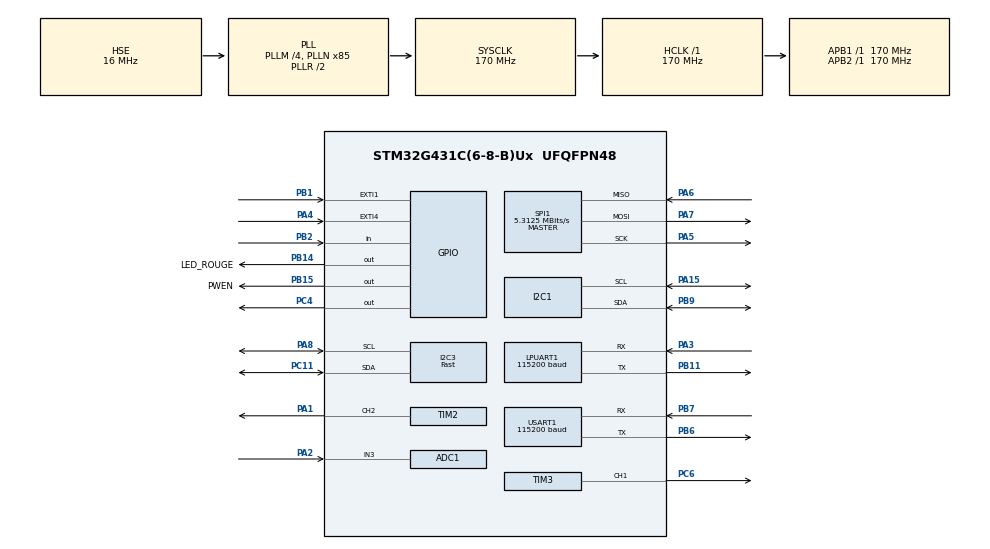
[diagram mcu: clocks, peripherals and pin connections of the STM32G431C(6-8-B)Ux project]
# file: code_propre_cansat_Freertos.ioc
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ADC1.Channel-0\#ChannelRegularConversion=ADC_CHANNEL_VREFINT
ADC1.Channel-1\#ChannelRegularConversion=ADC_CHANNEL_TEMPSENSOR_ADC1
ADC1.Channel-2\#ChannelRegularConversion=ADC_CHANNEL_3
ADC1.ContinuousConvMode=ENABLE
ADC1.EOCSelection=ADC_EOC_SEQ_CONV
ADC1.NbrOfConversion=3
ADC1.NbrOfConversionFlag=1
ADC1.OffsetNumber-0\#ChannelRegularConversion=ADC_OFFSET_NONE
ADC1.OffsetNumber-1\#ChannelRegularConversion=ADC_OFFSET_NONE
ADC1.OffsetNumber-2\#ChannelRegularConversion=ADC_OFFSET_NONE
ADC1.Rank-0\#ChannelRegularConversion=1
ADC1.Rank-1\#ChannelRegularConversion=2
ADC1.Rank-2\#ChannelRegularConversion=3
ADC1.SamplingTime-0\#ChannelRegularConversion=ADC_SAMPLETIME_640CYCLES_5
ADC1.SamplingTime-1\#ChannelRegularConversion=ADC_SAMPLETIME_640CYCLES_5
ADC1.SamplingTime-2\#ChannelRegularConversion=ADC_SAMPLETIME_640CYCLES_5
ADC1.master=1
Dma.ADC1.0.Direction=DMA_PERIPH_TO_MEMORY
Dma.ADC1.0.EventEnable=DISABLE
Dma.ADC1.0.Instance=DMA1_Channel2
Dma.ADC1.0.MemDataAlignment=DMA_MDATAALIGN_HALFWORD
Dma.ADC1.0.MemInc=DMA_MINC_ENABLE
Dma.ADC1.0.Mode=DMA_CIRCULAR
Dma.ADC1.0.PeriphDataAlignment=DMA_PDATAALIGN_HALFWORD
Dma.ADC1.0.PeriphInc=DMA_PINC_DISABLE
Dma.ADC1.0.Polarity=HAL_DMAMUX_REQ_GEN_RISING
Dma.ADC1.0.Priority=DMA_PRIORITY_LOW
Dma.ADC1.0.RequestNumber=1
Dma.ADC1.0.SignalID=NONE
Dma.ADC1.0.SyncEnable=DISABLE
Dma.ADC1.0.SyncPolarity=HAL_DMAMUX_SYNC_NO_EVENT
Dma.ADC1.0.SyncRequestNumber=1
Dma.ADC1.0.SyncSignalID=NONE
Dma.LPUART1_RX.1.Direction=DMA_PERIPH_TO_MEMORY
Dma.LPUART1_RX.1.EventEnable=DISABLE
Dma.LPUART1_RX.1.Instance=DMA1_Channel3
Dma.LPUART1_RX.1.MemDataAlignment=DMA_MDATAALIGN_BYTE
Dma.LPUART1_RX.1.MemInc=DMA_MINC_ENABLE
Dma.LPUART1_RX.1.Mode=DMA_CIRCULAR
Dma.LPUART1_RX.1.PeriphDataAlignment=DMA_PDATAALIGN_BYTE
Dma.LPUART1_RX.1.PeriphInc=DMA_PINC_DISABLE
Dma.LPUART1_RX.1.Polarity=HAL_DMAMUX_REQ_GEN_RISING
Dma.LPUART1_RX.1.Priority=DMA_PRIORITY_LOW
Dma.LPUART1_RX.1.RequestNumber=1
Dma.LPUART1_RX.1.SignalID=NONE
Dma.LPUART1_RX.1.SyncEnable=DISABLE
Dma.LPUART1_RX.1.SyncPolarity=HAL_DMAMUX_SYNC_NO_EVENT
Dma.LPUART1_RX.1.SyncRequestNumber=1
Dma.LPUART1_RX.1.SyncSignalID=NONE
Dma.Request0=ADC1
Dma.Request1=LPUART1_RX
Dma.Request2=USART1_RX
Dma.Request3=TIM2_CH2
Dma.TIM2_CH2.3.Direction=DMA_MEMORY_TO_PERIPH
Dma.TIM2_CH2.3.EventEnable=DISABLE
Dma.TIM2_CH2.3.Instance=DMA1_Channel1
Dma.TIM2_CH2.3.MemDataAlignment=DMA_MDATAALIGN_BYTE
Dma.TIM2_CH2.3.MemInc=DMA_MINC_ENABLE
Dma.TIM2_CH2.3.Mode=DMA_NORMAL
Dma.TIM2_CH2.3.PeriphDataAlignment=DMA_PDATAALIGN_WORD
Dma.TIM2_CH2.3.PeriphInc=DMA_PINC_DISABLE
Dma.TIM2_CH2.3.Polarity=HAL_DMAMUX_REQ_GEN_RISING
Dma.TIM2_CH2.3.Priority=DMA_PRIORITY_LOW
Dma.TIM2_CH2.3.RequestNumber=1
Dma.TIM2_CH2.3.SignalID=NONE
Dma.TIM2_CH2.3.SyncEnable=DISABLE
Dma.TIM2_CH2.3.SyncPolarity=HAL_DMAMUX_SYNC_NO_EVENT
Dma.TIM2_CH2.3.SyncRequestNumber=1
Dma.TIM2_CH2.3.SyncSignalID=NONE
Dma.USART1_RX.2.Direction=DMA_PERIPH_TO_MEMORY
Dma.USART1_RX.2.EventEnable=DISABLE
Dma.USART1_RX.2.Instance=DMA1_Channel5
Dma.USART1_RX.2.MemDataAlignment=DMA_MDATAALIGN_BYTE
Dma.USART1_RX.2.MemInc=DMA_MINC_ENABLE
Dma.USART1_RX.2.Mode=DMA_CIRCULAR
Dma.USART1_RX.2.PeriphDataAlignment=DMA_PDATAALIGN_BYTE
Dma.USART1_RX.2.PeriphInc=DMA_PINC_DISABLE
Dma.USART1_RX.2.Polarity=HAL_DMAMUX_REQ_GEN_RISING
Dma.USART1_RX.2.Priority=DMA_PRIORITY_LOW
Dma.USART1_RX.2.RequestNumber=1
Dma.USART1_RX.2.SignalID=NONE
Dma.USART1_RX.2.SyncEnable=DISABLE
Dma.USART1_RX.2.SyncPolarity=HAL_DMAMUX_SYNC_NO_EVENT
Dma.USART1_RX.2.SyncRequestNumber=1
Dma.USART1_RX.2.SyncSignalID=NONE
FATFS._MAX_SS=512
FATFS._USE_LFN=0
FREERTOS.INCLUDE_vTaskDelayUntil=1
FREERTOS.Mutexes01=SDCard_mutexe,Dynamic,NULL,Depleted;I2Cmutex,Dynamic,NULL,Depleted;uartmutex,Dynamic,NULL,Available
FREERTOS.Tasks01=statemachine,1,300,Startstatemachine,Default,NULL,Dynamic,NULL,NULL;GNSSParse,0,256,StartGNSSParse,Default,NULL,Dynamic,NULL,NULL;Sdcardwrite,0,512,StartSdcard,Default,NULL,Dynamic,NULL,NULL;servo,1,256,Startservo,Default,NULL,Dynamic,NULL,NULL;distancecalc,-1,256,Startdistancecalc,Default,NULL,Dynamic,NULL,NULL;tarvosDecode,3,256,startTarvosDecode,Default,NULL,Dynamic,NULL,NULL
FREERTOS.configENABLE_FPU=1
FREERTOS.configTOTAL_HEAP_SIZE=12000
FREERTOS.configUSE_NEWLIB_REENTRANT=1
I2C1.Timing=0x40B285C2
I2C3.I2C_Speed_Mode=I2C_Fast
I2C3.Timing=0x40621236
LPUART1.BaudRate=115200
Mcu.Family=STM32G4
Mcu.Name=STM32G431C(6-8-B)Ux
Mcu.Package=UFQFPN48
NVIC.ADC1_2_IRQn=true\:5\:0\:false\:false\:true\:true\:true\:true\:true
NVIC.DMA1_Channel1_IRQn=true\:5\:0\:false\:false\:true\:true\:false\:true\:true
NVIC.DMA1_Channel2_IRQn=true\:5\:0\:false\:false\:true\:true\:false\:true\:true
NVIC.DMA1_Channel3_IRQn=true\:5\:0\:false\:false\:true\:true\:false\:true\:true
NVIC.DMA1_Channel5_IRQn=true\:5\:0\:false\:false\:true\:true\:false\:true\:true
NVIC.EXTI1_IRQn=true\:5\:0\:false\:false\:true\:true\:true\:true\:true
NVIC.EXTI4_IRQn=true\:5\:0\:false\:false\:true\:true\:true\:true\:true
NVIC.LPUART1_IRQn=true\:5\:0\:false\:false\:true\:true\:true\:true\:true
NVIC.PriorityGroup=NVIC_PRIORITYGROUP_4
NVIC.TIM1_UP_TIM16_IRQn=true\:15\:0\:false\:false\:true\:false\:false\:true\:true
NVIC.TIM2_IRQn=true\:5\:0\:false\:false\:true\:true\:true\:true\:true
NVIC.TIM4_IRQn=true\:6\:0\:true\:false\:true\:true\:true\:true\:true
NVIC.TimeBase=TIM1_UP_TIM16_IRQn
NVIC.TimeBaseIP=TIM1
NVIC.USART1_IRQn=true\:5\:0\:false\:false\:true\:true\:true\:true\:true
PA1.GPIO_Speed=GPIO_SPEED_FREQ_MEDIUM
PA1.Signal=S_TIM2_CH2
PA13.Mode=Trace_Asynchronous_SW
PA13.Signal=SYS_JTMS-SWDIO
PA14.Mode=Trace_Asynchronous_SW
PA14.Signal=SYS_JTCK-SWCLK
PA15.Mode=I2C
PA15.Signal=I2C1_SCL
PA2.Mode=IN3-Single-Ended
PA2.Signal=ADC1_IN3
PA3.Mode=Asynchronous
PA3.Signal=LPUART1_RX
PA4.GPIO_ModeDefaultEXTI=GPIO_MODE_IT_RISING_FALLING
PA4.Signal=GPXTI4
PA5.GPIO_PuPd=GPIO_NOPULL
PA5.Mode=Full_Duplex_Master
PA5.Signal=SPI1_SCK
PA6.GPIO_PuPd=GPIO_NOPULL
PA6.Mode=Full_Duplex_Master
PA6.Signal=SPI1_MISO
PA7.GPIO_PuPd=GPIO_NOPULL
PA7.Mode=Full_Duplex_Master
PA7.Signal=SPI1_MOSI
PA8.Mode=I2C
PA8.Signal=I2C3_SCL
PB1.GPIO_ModeDefaultEXTI=GPIO_MODE_IT_RISING_FALLING
PB1.GPIO_PuPd=GPIO_NOPULL
PB1.Signal=GPXTI1
PB11.Mode=Asynchronous
PB11.Signal=LPUART1_TX
PB14.GPIO_Label=LED_ROUGE
PB14.Signal=GPIO_Output
PB15.GPIO_Label=PWEN
PB15.Signal=GPIO_Output
PB2.Signal=GPIO_Input
PB3.Mode=Trace_Asynchronous_SW
PB3.Signal=SYS_JTDO-SWO
PB6.Mode=Asynchronous
PB6.Signal=USART1_TX
PB7.Mode=Asynchronous
PB7.Signal=USART1_RX
PB9.Mode=I2C
PB9.Signal=I2C1_SDA
PC11.Mode=I2C
PC11.Signal=I2C3_SDA
PC4.Signal=GPIO_Output
PC6.Signal=S_TIM3_CH1
PF0-OSC_IN.Mode=HSE-External-Oscillator
PF0-OSC_IN.Signal=RCC_OSC_IN
PF1-OSC_OUT.Mode=HSE-External-Oscillator
PF1-OSC_OUT.Signal=RCC_OSC_OUT
ProjectManager.HeapSize=0x200
ProjectManager.StackSize=0x400
ProjectManager.TargetToolchain=STM32CubeIDE
RCC.ADC12Freq_Value=170000000
RCC.AHBFreq_Value=170000000
RCC.APB1Freq_Value=170000000
RCC.APB1TimFreq_Value=170000000
RCC.APB2Freq_Value=170000000
RCC.APB2TimFreq_Value=170000000
RCC.CortexFreq_Value=170000000
RCC.EXTERNAL_CLOCK_VALUE=12288000
RCC.HCLKFreq_Value=170000000
RCC.HSE_VALUE=16000000
RCC.HSI48_VALUE=48000000
RCC.HSI_VALUE=16000000
RCC.LSE_VALUE=32768
RCC.PLLM=RCC_PLLM_DIV4
RCC.PLLN=85
RCC.PLLSourceVirtual=RCC_PLLSOURCE_HSE
RCC.SYSCLKFreq_VALUE=170000000
RCC.SYSCLKSource=RCC_SYSCLKSOURCE_PLLCLK
RCC.USBFreq_Value=170000000
RCC.VCOOutputFreq_Value=340000000
SH.S_TIM2_CH2.0=TIM2_CH2,PWM Generation2 CH2
SH.S_TIM3_CH1.0=TIM3_CH1,PWM Generation1 CH1
SPI1.BaudRatePrescaler=SPI_BAUDRATEPRESCALER_32
SPI1.CalculateBaudRate=5.3125 MBits/s
SPI1.DataSize=SPI_DATASIZE_8BIT
SPI1.Direction=SPI_DIRECTION_2LINES
SPI1.Mode=SPI_MODE_MASTER
SPI1.VirtualType=VM_MASTER
TIM2.Channel-PWM\ Generation2\ CH2=TIM_CHANNEL_2
TIM2.OCFastMode_PWM-PWM\ Generation2\ CH2=TIM_OCFAST_ENABLE
TIM2.PeriodNoDither=204-1
TIM2.Prescaler=0
TIM3.AutoReloadPreload=TIM_AUTORELOAD_PRELOAD_ENABLE
TIM3.Channel-PWM\ Generation1\ CH1=TIM_CHANNEL_1
TIM3.PeriodNoDither=10000-1
TIM3.Prescaler=170-1
TIM4.PeriodNoDither=10000-1
TIM4.Prescaler=17000-1
USART1.BaudRate=115200
USART1.VirtualMode-Asynchronous=VM_ASYNC
VP_ADC1_TempSens_Input.Mode=IN-TempSens
VP_ADC1_Vref_Input.Mode=IN-Vrefint
VP_FATFS_VS_Generic.Mode=User_defined
VP_FREERTOS_VS_CMSIS_V1.Mode=CMSIS_V1
VP_SYS_VS_DBSignals.Mode=DisableDeadBatterySignals
VP_SYS_VS_tim1.Mode=TIM1
VP_TIM2_VS_ClockSourceINT.Mode=Internal
VP_TIM3_VS_ClockSourceINT.Mode=Internal
VP_TIM4_VS_ClockSourceINT.Mode=Internal
board=custom

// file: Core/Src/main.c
/* USER CODE BEGIN Header */
/**
  ******************************************************************************
  * @file           : main.c
  * @brief          : Main program body
  ******************************************************************************
  * @attention
  *
  * Copyright (c) 2025 STMicroelectronics.
  * All rights reserved.
  *
  * This software is licensed under terms that can be found in the LICENSE file
  * in the root directory of this software component.
  * If no LICENSE file comes with this software, it is provided AS-IS.
  *
  ******************************************************************************
  */
/* USER CODE END Header */
#include "main.h"
#include "cmsis_os.h"
#include "adc.h"
#include "dma.h"
#include "app_fatfs.h"
#include "i2c.h"
#include "usart.h"
#include "spi.h"
#include "tim.h"
#include "gpio.h"

/* USER CODE BEGIN Includes */
#include "bmp581.h"
#include "6axis.h"
#include "tarvos.h"
#include "led.h"
#include "statemachine.h"
#include "servo.h"
#include "ssd1306.h"
#include "math.h"
#include "GNSS.h"
/* USER CODE END Includes */

/* USER CODE BEGIN PV */

uint8_t tarvos_TX_Buffer[TarvosTxBufferSize];
uint8_t tarvos_DATA[64];
uint8_t tarvos_RX_Buffer[TarvosRxBufferSize];

uint8_t workingbuffer[110];
uint8_t sdcardbuffer[512];
AXIS6 myData6AXIS;
BMP_t myDatabmp581;

FATFS FatFs;   // FATFS handle
FRESULT fres;  // Common result code
FILINFO fno;	  // Structure holds information
FATFS *getFreeFs; 	  // Read information
FIL fil;
DIR dir;			  // Directory object structure
DWORD free_clusters;  // Free Clusters
DWORD free_sectors;	  // Free Sectors
DWORD total_sectors;

int tbtn1=0;
uint16_t rawADCdata[3];
float temp=0;
float vrefint=0;
float vbat=0;

#ifdef PARTIE_BAS
DecodedPayload TOPData;
#endif

extern uint8_t dma_rx_buffer[DMA_CHUNK_SIZE];               // Réception DMA par bloc de 5
extern uint8_t circular_buffer[CIRC_BUF_SIZE];              // Buffer circulaire
extern volatile uint16_t write_index;
extern volatile uint16_t read_index;

DecodedPayload OTHERData;

GNSS_StateHandle GNSSData;

uint8_t LEDDMABUF[DMABUFLEN];
uint8_t DMA_COMPLETE_FLAG=0;

int gros_btn_time=0;

STATE state=IDLE;

int flag_drop = 0;
int flag_separation = 0;
int flag_calib=0;
int flag_bouton_servo=0;
int flag_servo_started=0;

uint32_t cpt_tps_chute=0;

int flag_fin=0;

float hauteur_Initiale=0.0;

float hauteur_relative=0.0;

int pbmseeker=0;

int received_flag=0;

int trameready=0;

uint32_t timeindex=0;

/* USER CODE END PV */

void SystemClock_Config(void);
void MX_FREERTOS_Init(void);

/* USER CODE BEGIN 0 */
void HAL_GPIO_EXTI_Callback(uint16_t GPIO_Pin)//lors d'un appuie sur un bouton, le systeme s'interrompt afin d'arriver dans cette fonction redefinie avec en parametre d'entre , le bouton sur lequel l'on a appuiyé
{
	if(GPIO_Pin==GPIO_PIN_4){
		if(HAL_GPIO_ReadPin(GPIOA,GPIO_PIN_4)== GPIO_PIN_SET){

						gros_btn_time=0;
						tbtn1=HAL_GetTick();

					}
					else{

						gros_btn_time=(HAL_GetTick()-tbtn1);

		if(gros_btn_time<=380){
#ifdef PARTIE_HAUT
			flag_bouton_servo=0;
#endif

							}
					if(gros_btn_time>=400 && gros_btn_time<=1500){
#ifdef PARTIE_HAUT
						flag_bouton_servo=1;
#endif
					}
					if(gros_btn_time>=1500 && gros_btn_time<=3500){

						hauteur_Initiale=myDatabmp581.altitude;
						flag_calib=1;
#ifdef PARTIE_HAUT
						create_and_send_payload((uint8_t *) tarvos_TX_Buffer,CHANNEL,BOTTOM_ADDR,0x20,0.0,0.0,0.0,0.0,0.0,0.0,0.0,0.0,0.0,0.0,0.0,0);
#endif

										}
					if(gros_btn_time>=4000){
											HAL_GPIO_TogglePin(PWEN_GPIO_Port,PWEN_Pin);
											gros_btn_time=0;

															}

					gros_btn_time=0;
					}

	}

#ifdef PARTIE_HAUT
	if(GPIO_Pin==GPIO_PIN_1){

		if(HAL_GPIO_ReadPin(GPIOB,GPIO_PIN_1)== GPIO_PIN_SET){
			flag_drop=0;
		}
		else{
			flag_drop=1;
		}

		}
#endif

	}
void HAL_TIM_PWM_PulseFinishedCallback(TIM_HandleTypeDef *htim){

	LED_Callback();
}
/* USER CODE END 0 */

int main(void)
{

  /* MCU Configuration--------------------------------------------------------*/

  /* Reset of all peripherals, Initializes the Flash interface and the Systick. */
  HAL_Init();

  /* Configure the system clock */
  SystemClock_Config();

  /* Initialize all configured peripherals */
  MX_GPIO_Init();
  MX_DMA_Init();
  MX_ADC1_Init();
  MX_I2C1_Init();
  MX_I2C3_Init();
  MX_LPUART1_UART_Init();
  MX_USART1_UART_Init();
  MX_TIM3_Init();
  MX_TIM2_Init();
  MX_SPI1_Init();
  if (MX_FATFS_Init() != APP_OK) {
    Error_Handler();
  }
  MX_TIM4_Init();
  /* USER CODE BEGIN 2 */

  ssd1306_Init();
  ssd1306_Fill(Black);
  ssd1306_SetCursor(32, 40);
  ssd1306_WriteString("Init...", Font_7x10, White);
  ssd1306_UpdateScreen();

  HAL_GPIO_WritePin(PWEN_GPIO_Port,PWEN_Pin,GPIO_PIN_SET);
  HAL_GPIO_WritePin(LED_ROUGE_GPIO_Port,LED_ROUGE_Pin,GPIO_PIN_SET);

#ifdef PARTIE_HAUT
  if( release_mecanism()!=HAL_OK){
	  ssd1306_SetCursor(32, 40);
 	  ssd1306_Fill(Black);
 	  ssd1306_WriteString("servopbm", Font_7x10, White);
 	  ssd1306_UpdateScreen();
 	  HAL_Delay(500);
 	 pbmseeker=1;

   }
  flag_servo_started=1;

#endif

  if(HAL_ADC_Start_DMA(&hadc1,(uint16_t*)rawADCdata, 3)!=HAL_OK){
	  ssd1306_SetCursor(32, 40);
 	  ssd1306_Fill(Black);
 	  ssd1306_WriteString("adcpbm", Font_7x10, White);
 	  ssd1306_UpdateScreen();
 	  HAL_Delay(500);
 	 pbmseeker=1;

   }

   HAL_Delay(100);
   HAL_UART_Abort(&huart1);
   if( HAL_UART_Receive_DMA(&huart1, (uint8_t *)workingbuffer, 100)!=HAL_OK){
	   ssd1306_SetCursor(32, 40);
  	  ssd1306_Fill(Black);
  	  ssd1306_WriteString("gpspbm", Font_7x10, White);
  	  ssd1306_UpdateScreen();
  	  HAL_Delay(500);
  	pbmseeker=1;

    }

  if(  LED_Init()!=HAL_OK){
	  ssd1306_SetCursor(32, 40);
 	  ssd1306_Fill(Black);
 	  ssd1306_WriteString("ledpbm", Font_7x10, White);
 	  ssd1306_UpdateScreen();
 	  HAL_Delay(500);
 	 pbmseeker=1;

   }
  Init_HighPerf_Mode_6_axis();

  if(bmp581_init_precise_normal(&myDatabmp581)!=HAL_OK){
	  ssd1306_SetCursor(32, 40);
 	  ssd1306_Fill(Black);
 	  ssd1306_WriteString("bmp pbm", Font_7x10, White);
 	  ssd1306_UpdateScreen();
 	  HAL_Delay(500);
 	 pbmseeker=1;

   }

  //mon adresse est 1° et on envoit à 2°
#ifdef PARTIE_BAS
  if( INIT_PERM_TARVOS(BOTTOM_ADDR, GROUND_ADDR)!=HAL_OK){
	  ssd1306_SetCursor(32, 40);
 	  ssd1306_Fill(Black);
 	  ssd1306_WriteString("tvsaddrpbm", Font_7x10, White);
 	  ssd1306_UpdateScreen();
 	  HAL_Delay(500);
 	 pbmseeker=1;

   }
#endif

#ifdef PARTIE_HAUT
  if( INIT_PERM_TARVOS(TOP_ADDR, BOTTOM_ADDR)!=HAL_OK){
	  ssd1306_SetCursor(32, 40);
 	  ssd1306_Fill(Black);
 	  ssd1306_WriteString("tvsaddrpbm", Font_7x10, White);
 	  ssd1306_UpdateScreen();
 	  HAL_Delay(500);
 	 pbmseeker=1;

   }
#endif

  HAL_Delay(100);
  HAL_UART_Abort(&hlpuart1);
  if(HAL_UART_Receive_DMA(&hlpuart1, dma_rx_buffer, DMA_CHUNK_SIZE)!=HAL_OK){
	   ssd1306_SetCursor(32, 40);
 	  ssd1306_Fill(Black);
 	  ssd1306_WriteString("tvsrxpbm", Font_7x10, White);
 	  ssd1306_UpdateScreen();
 	  HAL_Delay(500);
 	pbmseeker=1;

   }
  HAL_TIM_Base_Start_IT(&htim4);
  HAL_Delay(10);

  fres = f_mount(&FatFs, "", 1);
  		  if (fres == FR_OK) {
  			  fres = f_mkdir("DEMO");
  			  fres = f_open(&fil, "/DEMO/write.txt",FA_WRITE | FA_OPEN_ALWAYS);
  			  if (fres == FR_OK) {
  				  //snprintf((char*) readBuf,30, "I hate Java!");
  				  UINT bytesWrote;
  				  fres = f_write(&fil,(uint8_t *)"test123test", 11, &bytesWrote);
  				  f_close(&fil);

  			  }
  			  f_mount(NULL, "", 0);
  		  }

  /* USER CODE END 2 */

  /* Call init function for freertos objects (in cmsis_os2.c) */
  MX_FREERTOS_Init();

  /* Start scheduler */
  osKernelStart();

  /* We should never get here as control is now taken by the scheduler */

  /* Infinite loop */
  while (1)
  {

  }
}

void SystemClock_Config(void)
{
  RCC_OscInitTypeDef RCC_OscInitStruct = {0};
  RCC_ClkInitTypeDef RCC_ClkInitStruct = {0};

  /** Configure the main internal regulator output voltage
  */
  HAL_PWREx_ControlVoltageScaling(PWR_REGULATOR_VOLTAGE_SCALE1_BOOST);

  /** Initializes the RCC Oscillators according to the specified parameters
  * in the RCC_OscInitTypeDef structure.
  */
  RCC_OscInitStruct.OscillatorType = RCC_OSCILLATORTYPE_HSE;
  RCC_OscInitStruct.HSEState = RCC_HSE_ON;
  RCC_OscInitStruct.PLL.PLLState = RCC_PLL_ON;
  RCC_OscInitStruct.PLL.PLLSource = RCC_PLLSOURCE_HSE;
  RCC_OscInitStruct.PLL.PLLM = RCC_PLLM_DIV4;
  RCC_OscInitStruct.PLL.PLLN = 85;
  RCC_OscInitStruct.PLL.PLLP = RCC_PLLP_DIV2;
  RCC_OscInitStruct.PLL.PLLQ = RCC_PLLQ_DIV2;
  RCC_OscInitStruct.PLL.PLLR = RCC_PLLR_DIV2;
  if (HAL_RCC_OscConfig(&RCC_OscInitStruct) != HAL_OK)
  {
    Error_Handler();
  }

  /** Initializes the CPU, AHB and APB buses clocks
  */
  RCC_ClkInitStruct.ClockType = RCC_CLOCKTYPE_HCLK|RCC_CLOCKTYPE_SYSCLK
                              |RCC_CLOCKTYPE_PCLK1|RCC_CLOCKTYPE_PCLK2;
  RCC_ClkInitStruct.SYSCLKSource = RCC_SYSCLKSOURCE_PLLCLK;
  RCC_ClkInitStruct.AHBCLKDivider = RCC_SYSCLK_DIV1;
  RCC_ClkInitStruct.APB1CLKDivider = RCC_HCLK_DIV1;
  RCC_ClkInitStruct.APB2CLKDivider = RCC_HCLK_DIV1;

  if (HAL_RCC_ClockConfig(&RCC_ClkInitStruct, FLASH_LATENCY_4) != HAL_OK)
  {
    Error_Handler();
  }
}

void HAL_TIM_PeriodElapsedCallback(TIM_HandleTypeDef *htim)
{
  if (htim->Instance == TIM1)
  {
    HAL_IncTick();
  }
}

void Error_Handler(void)
{
  __disable_irq();
  while (1)
  {
  }
}

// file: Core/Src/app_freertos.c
/* USER CODE BEGIN Header */
/**
  ******************************************************************************
  * File Name          : app_freertos.c
  * Description        : Code for freertos applications
  ******************************************************************************
  * @attention
  *
  * Copyright (c) 2025 STMicroelectronics.
  * All rights reserved.
  *
  * This software is licensed under terms that can be found in the LICENSE file
  * in the root directory of this software component.
  * If no LICENSE file comes with this software, it is provided AS-IS.
  *
  ******************************************************************************
  */
/* USER CODE END Header */

#include "FreeRTOS.h"
#include "task.h"
#include "main.h"
#include "cmsis_os.h"

/* USER CODE BEGIN Includes */
#include "bmp581.h"
#include "6axis.h"
#include "tarvos.h"
#include "led.h"
#include "statemachine.h"
#include "servo.h"
#include "ssd1306.h"
#include "math.h"
#include "usart.h"
#include "GNSS.h"
#include "app_fatfs.h"
#include "sd_app.h"
/* USER CODE END Includes */

/* USER CODE BEGIN Variables */

extern uint16_t rawADCdata[3];
extern float temp;
extern float vrefint;
extern float vbat;

extern uint8_t tarvos_TX_Buffer[TarvosTxBufferSize];
extern uint8_t tarvos_DATA[64];
extern uint8_t tarvos_RX_Buffer[TarvosRxBufferSize];
extern uint8_t sdcardbuffer[512];
extern uint8_t workingbuffer[110];

extern uint8_t dma_rx_buffer[DMA_CHUNK_SIZE];               // Réception DMA par bloc de 5
extern uint8_t circular_buffer[CIRC_BUF_SIZE];              // Buffer circulaire
extern volatile uint16_t write_index;
extern volatile uint16_t read_index;

extern AXIS6 myData6AXIS;
extern BMP_t myDatabmp581;
extern GNSS_StateHandle GNSSData;

extern double P0;

extern GNSS_StateHandle GNSSData;

extern uint8_t LEDDMABUF[DMABUFLEN];
extern uint8_t DMA_COMPLETE_FLAG;

extern STATE state;

extern int flag_drop;
extern int flag_separation;
extern int flag_calib;

extern int flag_bouton_servo;
extern float hauteur_Initiale;

extern float hauteur_relative;

extern int pbmseeker;

extern int trameready;

extern int flag_servo_started;

extern int received_flag;

int counterrecalib=0;
int sd_counter=0;

#ifdef PARTIE_BAS
extern DecodedPayload TOPData;
float distance_entre_module=0.0;
#endif

extern DecodedPayload OTHERData;

int pbmseeker_flag=0;
int blinker_sd_flag=0;

extern uint32_t timeindex;

extern uint32_t cpt_tps_chute;
extern int flag_fin;

UBaseType_t sizestatemachine;
UBaseType_t sizeGNSS;
UBaseType_t sizesdcard;
UBaseType_t sizetarvos;

float timestatemachine=0.0;
float timesdcard=0.0;
float timedecode=0.0;
float timeservo=0.0;
float timedist=0.0;
float timeGNSS=0.0;

extern FATFS FatFs;   // FATFS handle
extern FILINFO fno;	  // Structure holds information
extern FATFS *getFreeFs; 	  // Read information
extern FIL fil;
extern DIR dir;			  // Directory object structure
extern DWORD free_clusters;  // Free Clusters
extern DWORD free_sectors;	  // Free Sectors
extern DWORD total_sectors;

/* USER CODE END Variables */
osThreadId statemachineHandle;
osThreadId GNSSParseHandle;
osThreadId SdcardwriteHandle;
osThreadId servoHandle;
osThreadId distancecalcHandle;
osThreadId tarvosDecodeHandle;
osMutexId SDCard_mutexeHandle;
osMutexId I2CmutexHandle;
osMutexId uartmutexHandle;
osSemaphoreId uartTxDoneHandle;

void Startstatemachine(void const * argument);
void StartGNSSParse(void const * argument);
void StartSdcard(void const * argument);
void Startservo(void const * argument);
void Startdistancecalc(void const * argument);
void startTarvosDecode(void const * argument);

void MX_FREERTOS_Init(void); /* (MISRA C 2004 rule 8.1) */

void MX_FREERTOS_Init(void) {
  /* Create the mutex(es) */
  /* definition and creation of SDCard_mutexe */
  osMutexDef(SDCard_mutexe);
  SDCard_mutexeHandle = osMutexCreate(osMutex(SDCard_mutexe));

  /* definition and creation of I2Cmutex */
  osMutexDef(I2Cmutex);
  I2CmutexHandle = osMutexCreate(osMutex(I2Cmutex));

  /* definition and creation of uartmutex */
  osMutexDef(uartmutex);
  uartmutexHandle = osMutexCreate(osMutex(uartmutex));

  /* Create the semaphores(s) */
  /* definition and creation of uartTxDone */
  osSemaphoreDef(uartTxDone);
  uartTxDoneHandle = osSemaphoreCreate(osSemaphore(uartTxDone), 1);

  /* USER CODE BEGIN RTOS_SEMAPHORES */
  osSemaphoreWait(uartTxDoneHandle, 0);
  /* add semaphores, ... */
  /* USER CODE END RTOS_SEMAPHORES */

  /* Create the thread(s) */
  /* definition and creation of statemachine */
  osThreadDef(statemachine, Startstatemachine, osPriorityAboveNormal, 0, 300);
  statemachineHandle = osThreadCreate(osThread(statemachine), NULL);

  /* definition and creation of GNSSParse */
  osThreadDef(GNSSParse, StartGNSSParse, osPriorityNormal, 0, 256);
  GNSSParseHandle = osThreadCreate(osThread(GNSSParse), NULL);

  /* definition and creation of Sdcardwrite */
  osThreadDef(Sdcardwrite, StartSdcard, osPriorityNormal, 0, 512);
  SdcardwriteHandle = osThreadCreate(osThread(Sdcardwrite), NULL);

  /* definition and creation of servo */
  osThreadDef(servo, Startservo, osPriorityAboveNormal, 0, 256);
  servoHandle = osThreadCreate(osThread(servo), NULL);

  /* definition and creation of distancecalc */
  osThreadDef(distancecalc, Startdistancecalc, osPriorityBelowNormal, 0, 256);
  distancecalcHandle = osThreadCreate(osThread(distancecalc), NULL);

  /* definition and creation of tarvosDecode */
  osThreadDef(tarvosDecode, startTarvosDecode, osPriorityRealtime, 0, 256);
  tarvosDecodeHandle = osThreadCreate(osThread(tarvosDecode), NULL);

  /* USER CODE BEGIN RTOS_THREADS */
#ifdef PARTIE_HAUT

  osThreadSuspend(distancecalcHandle);

#endif
#ifdef PARTIE_BAS

  osThreadSuspend(servoHandle);

#endif

  CoreDebug->DEMCR |=CoreDebug_DEMCR_TRCENA_Msk;
  DWT->CYCCNT =0;
  DWT->CTRL |= DWT_CTRL_CYCCNTENA_Msk;

  /* add threads, ... */
  /* USER CODE END RTOS_THREADS */

}

void Startstatemachine(void const * argument)
{
  /* USER CODE BEGIN Startstatemachine */
	TickType_t xLastWakeTime = xTaskGetTickCount();
  /* Infinite loop */
  for(;;)
  {

	  uint32_t start1= DWT->CYCCNT;
      if (osMutexWait(I2CmutexHandle, 20) == osOK)
      {

	  if(pbmseeker_flag==0){
		  if(pbmseeker==0){
			  ssd1306_SetCursor(32, 40);
			  ssd1306_Fill(Black);
			  ssd1306_WriteString("OK!", Font_16x24, White);
			  ssd1306_UpdateScreen();

		  }
		  if(pbmseeker==1){
			  ssd1306_SetCursor(32, 40);
			  ssd1306_Fill(Black);
			  ssd1306_WriteString("PB!", Font_16x24, White);
			  ssd1306_UpdateScreen();

		  }
		  vTaskDelay(pdMS_TO_TICKS(500));
		  pbmseeker_flag=1;
	  }
	  else{
	  statemachine();
	  ssd1306_UpdateScreen();
	  }

      osMutexRelease(I2CmutexHandle);
  }

	  sizestatemachine=uxTaskGetStackHighWaterMark(statemachineHandle);
	  sizeGNSS=uxTaskGetStackHighWaterMark(GNSSParseHandle);
	  sizesdcard=uxTaskGetStackHighWaterMark(SdcardwriteHandle);
	  sizetarvos=uxTaskGetStackHighWaterMark(tarvosDecodeHandle);

	  uint32_t end1= DWT->CYCCNT;
	  uint32_t cycles= end1-start1;

	  timestatemachine=(float) cycles/(SystemCoreClock/1000000.0f);

	  vTaskDelayUntil(&xLastWakeTime, pdMS_TO_TICKS(200));
  }
  /* USER CODE END Startstatemachine */
}

void StartGNSSParse(void const * argument)
{
  /* USER CODE BEGIN StartGNSSParse */
	TickType_t xLastWakeTime = xTaskGetTickCount();
  /* Infinite loop */
  for(;;)
  {
	  uint32_t start1= DWT->CYCCNT;
	  GNSS_ParsePVTData(&GNSSData);
	  bmp581_read_precise_normal(&myDatabmp581);
      if (osMutexWait(I2CmutexHandle, 20) == osOK)
      {
    	  Read_sensor_data(&myData6AXIS);
          osMutexRelease(I2CmutexHandle);
      }

	  if(flag_calib){
		  hauteur_relative=(float)(myDatabmp581.altitude-hauteur_Initiale);
	  }

		if(flag_fin==1){

			osThreadSuspend(NULL);
		}

		  uint32_t end1= DWT->CYCCNT;
		  uint32_t cycles= end1-start1;

		  float times=(float) cycles/(SystemCoreClock/1000000.0f);
if(times>timeGNSS){
	timeGNSS=times;
}

vTaskDelayUntil(&xLastWakeTime, pdMS_TO_TICKS(100));
  }
  /* USER CODE END StartGNSSParse */
}

void StartSdcard(void const * argument)
{
  /* USER CODE BEGIN StartSdcard */

	FRESULT fres=FR_OK;
	fres = f_mount(&FatFs, "", 1);
	TickType_t xLastWakeTime = xTaskGetTickCount();
  /* Infinite loop */
  for(;;)
  {
	  uint32_t start1= DWT->CYCCNT;
		  osMutexWait(SDCard_mutexeHandle, portMAX_DELAY);

		  blinker_sd_flag=1-blinker_sd_flag;
		  if(blinker_sd_flag==1){
			  LED_Setcolour(0,0,0,255,255,255);
		  }
		  else{
			  LED_Setcolour(0,0,0,0,0,0);
		  }

		  if(flag_drop==0){

			  if(sd_counter==5){
				  fres=store_in_sd(fres);

			  sd_counter=0;
			  }
			  sd_counter++;

		  }
		  else{
			  fres=store_in_sd(fres);

		  }

		  osMutexRelease(SDCard_mutexeHandle);

			if(flag_fin==1){

				f_mount(NULL, "", 0);
				osThreadSuspend(NULL);
			}

			  uint32_t end1= DWT->CYCCNT;
			  uint32_t cycles= end1-start1;
			  timesdcard=(float) cycles/(SystemCoreClock/1000000.0f);

			  vTaskDelayUntil(&xLastWakeTime, pdMS_TO_TICKS(200));
  }
  /* USER CODE END StartSdcard */
}

void Startservo(void const * argument)
{
  /* USER CODE BEGIN Startservo */
	TickType_t xLastWakeTime = xTaskGetTickCount();
  /* Infinite loop */
  for(;;)
  {
	  uint32_t start1= DWT->CYCCNT;

	  if((flag_drop==1) && (flag_calib==1)){

		  if((hauteur_relative<=HAUTEUR_SEPARATION)){
			  release_mecanism();
			  flag_separation=1;
			  flag_servo_started=1;
			  vTaskDelay(pdMS_TO_TICKS(500));
			  osThreadSuspend(NULL);

		  }
	  }
	  if(flag_drop==0){
		  if(flag_bouton_servo==1){
			  release_mecanism();
			  flag_bouton_servo=2;
			  flag_servo_started=1;
		  }
		  if(flag_bouton_servo==0){
			  lock_mecanism();
			  flag_bouton_servo=2;
			  flag_servo_started=1;
		  }

	  }

	  	  if(flag_servo_started==1){
	  		 vTaskDelay(pdMS_TO_TICKS(500));

	  		  stop_servo();
	  		  flag_servo_started=0;
	  	  }

		if(flag_fin==1){

			osThreadSuspend(NULL);
		}

		  uint32_t end1= DWT->CYCCNT;
		  uint32_t cycles= end1-start1;
		  float times=(float) cycles/(SystemCoreClock/1000000.0f);
if(times>timeservo){
	timeservo=times;
}
vTaskDelayUntil(&xLastWakeTime, pdMS_TO_TICKS(200));
  }
  /* USER CODE END Startservo */
}

void Startdistancecalc(void const * argument)
{
  /* USER CODE BEGIN Startdistancecalc */
	TickType_t xLastWakeTime = xTaskGetTickCount();
  /* Infinite loop */
  for(;;)
  {
	  uint32_t start1= DWT->CYCCNT;

	  if(flag_calib==1){

		  if(GNSSData.fixType>=3){
#ifdef PARTIE_BAS
			  distance_entre_module=distancecalc(GNSSData.fLat,TOPData.latitude, GNSSData.fLon,TOPData.longitude,hauteur_relative,TOPData.altitude_baro);

#endif
	  }
}

		if(flag_fin==1){

			osThreadSuspend(NULL);
		}

	  uint32_t end1= DWT->CYCCNT;
	  uint32_t cycles= end1-start1;

	  float times=(float) cycles/(SystemCoreClock/1000000.0f);
if(times>timedist){
timedist=times;
}
vTaskDelayUntil(&xLastWakeTime, pdMS_TO_TICKS(200));
  }
  /* USER CODE END Startdistancecalc */
}

void startTarvosDecode(void const * argument)
{
  /* USER CODE BEGIN startTarvosDecode */
	TickType_t xLastWakeTime = xTaskGetTickCount();
	 uint8_t temp_trame[TRAME_SIZE];
		      uint8_t temp5[5];
		      uint8_t data_index = 0;
  /* Infinite loop */
  for(;;)
  {
	  uint32_t start1= DWT->CYCCNT;

	          while (read_index != write_index) {
	              // Recherche de l'entête principale
	              if (circular_buffer[read_index] == 0x02 &&
	                  circular_buffer[(read_index + 1) % CIRC_BUF_SIZE] == 0x81)
	              {
	                  data_index = 0;

	                  while (data_index < TRAME_SIZE) {
	                      // Vérifie s’il reste au moins 5 octets
	                      uint16_t available = (write_index >= read_index)
	                          ? (write_index - read_index)
	                          : (CIRC_BUF_SIZE - read_index + write_index);

	                      if (available < 5) {
	                          break; // attendre plus de données
	                      }

	                      // Copie 5 octets
	                      for (int i = 0; i < 5; i++) {
	                          temp5[i] = circular_buffer[(read_index + i) % CIRC_BUF_SIZE];
	                      }

	                      // Confirmation TX ? (trame parasite)
	                      if (temp5[0] == 0x02 && temp5[1] == 0x40 && temp5[2] == 0x01) {
	                          // Skip trame de confirmation
	                          read_index = (read_index + 5) % CIRC_BUF_SIZE;
	                          continue;
	                      }

	                      // Sinon : partie utile, on ajoute à la trame
	                      for (int i = 0; i < 5 && data_index < TRAME_SIZE; i++) {
	                          temp_trame[data_index++] = temp5[i];
	                      }

	                      read_index = (read_index + 5) % CIRC_BUF_SIZE;
	                  }

	                  if (data_index == TRAME_SIZE) {

	                	  if (tarvos_checksum(temp_trame, TRAME_SIZE) == temp_trame[TRAME_SIZE - 1]) {

#ifdef PARTIE_HAUT
	                      memcpy(tarvos_DATA, temp_trame, TRAME_SIZE);
	                      decode_payload(&OTHERData, tarvos_DATA);  // ou un seul struct global

#endif

#ifdef PARTIE_BAS
	                      memcpy(tarvos_DATA, temp_trame, TRAME_SIZE);
	                      decode_payload(&TOPData, tarvos_DATA);  // ou un seul struct global

#endif

	                	  }

	                  }
	              } else {
	                  // Entête invalide : skip 1 octet
	                  read_index = (read_index + 1) % CIRC_BUF_SIZE;
	              }
	          }

		if(flag_fin==1){

			osThreadSuspend(NULL);
		}

		  uint32_t end1= DWT->CYCCNT;
		  uint32_t cycles= end1-start1;

		  timedecode=(float) cycles/(SystemCoreClock/1000000.0f);

vTaskDelay(pdMS_TO_TICKS(50));
  }
  /* USER CODE END startTarvosDecode */
}

/* USER CODE BEGIN Application */
//
//	  if(trameready==1){
//
//		  switch(tarvos_DATA[3]){
//#ifdef PARTIE_BAS
//		  case TOP_ADDR:
//			  decode_payload(&TOPData,(uint8_t *) tarvos_DATA);
//			  break;
//#endif
//		  default:
//			  decode_payload(&OTHERData,(uint8_t *) tarvos_DATA);
//
//			  break;
//		  }
//		  trameready=0;
//	  }
/* USER CODE END Application */
